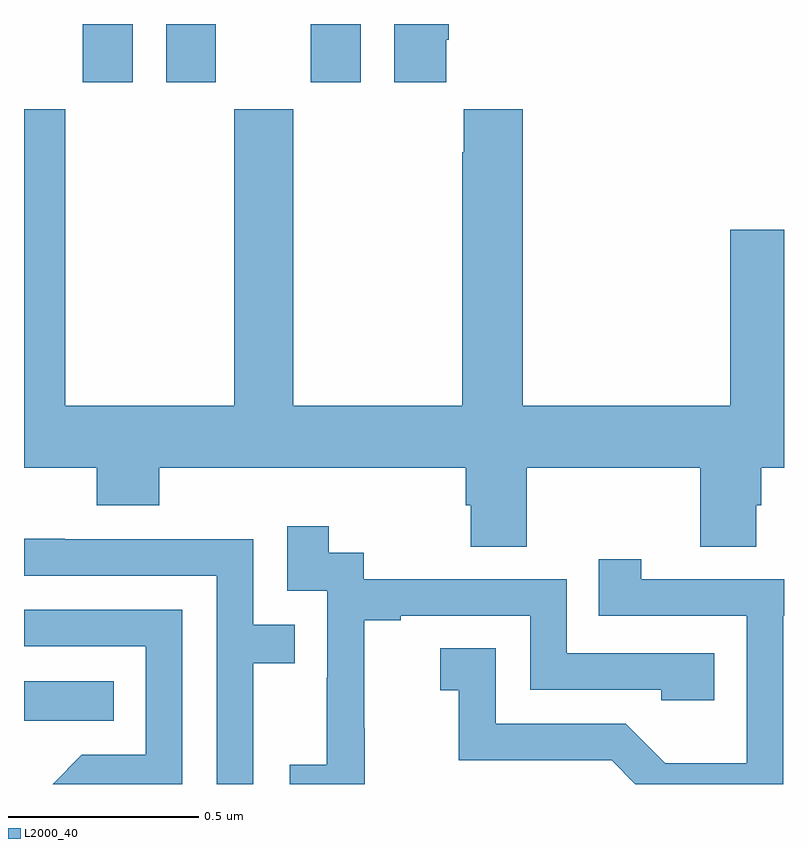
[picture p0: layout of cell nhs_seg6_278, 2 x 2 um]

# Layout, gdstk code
import gdstk
lib = gdstk.Library(unit=1e-6, precision=1e-09)
def R(c, l, rs):  # rectangles x0, y0, x1, y1
    for r in rs: c.add(gdstk.rectangle(r[:2], r[2:], *l))
def P(c, l, *ps):  # polygons
    for p in ps: c.add(gdstk.Polygon(p, *l))
L2000_40 = (2000, 40)

nhs_seg6_278 = lib.new_cell('nhs_seg6_278')
R(nhs_seg6_278, L2000_40, [(114,950.666,114.236,950.77), (114.155,952.347,114.286,952.5), (114.374,952.347,114.505,952.5), (114.755,952.347,114.886,952.5)])
P(nhs_seg6_278, L2000_40, [(115.111,952.459),(115.118,952.459),(115.118,952.5),(114.974,952.5),(114.974,952.347),(115.111,952.347)],
  [(115.323,951.332),(115.78,951.332),(115.78,951.124),(115.927,951.124),(115.927,951.234),(115.94,951.234),(115.94,951.332),(116,951.332),(116,951.958),(115.859,951.958),(115.859,951.496),(115.313,951.496),(115.313,952.276),(115.157,952.276),(115.157,952.163),(115.153,952.163),(115.153,951.496),(114.708,951.496),(114.708,952.276),(114.553,952.276),(114.553,951.496),(114.108,951.496),(114.108,952.276),(114,952.276),(114,951.332),(114.191,951.332),(114.191,951.233),(114.356,951.233),(114.356,951.332),(115.163,951.332),(115.163,951.234),(115.175,951.234),(115.175,951.124),(115.323,951.124)],
  [(114.897,950.647),(114.896,950.647),(114.896,950.931),(114.991,950.931),(114.991,950.943),(115.332,950.943),(115.332,950.748),(115.677,950.748),(115.677,950.721),(115.817,950.721),(115.817,950.844),(115.428,950.844),(115.428,951.039),(114.894,951.039),(114.894,951.108),(114.802,951.108),(114.802,951.178),(114.693,951.178),(114.693,951.009),(114.798,951.009),(114.798,950.78),(114.797,950.78),(114.797,950.551),(114.699,950.551),(114.699,950.5),(114.897,950.5)],
  [(114.603,950.818),(114.713,950.818),(114.713,950.919),(114.603,950.919),(114.603,951.144),(114.107,951.144),(114.107,951.146),(114,951.146),(114,951.048),(114.507,951.048),(114.507,950.5),(114.603,950.5)],
  [(115.998,950.943),(116,950.943),(116,951.039),(115.624,951.039),(115.624,951.091),(115.513,951.091),(115.513,950.943),(115.902,950.943),(115.902,950.554),(115.688,950.554),(115.584,950.658),(115.242,950.658),(115.242,950.857),(115.095,950.857),(115.095,950.747),(115.144,950.747),(115.144,950.562),(115.547,950.562),(115.609,950.5),(115.998,950.5)],
  [(114.417,950.958),(114,950.958),(114,950.862),(114.321,950.862),(114.321,950.577),(114.152,950.577),(114.075,950.5),(114.417,950.5)])

lib.write_gds('nhs_seg6_278.gds')
